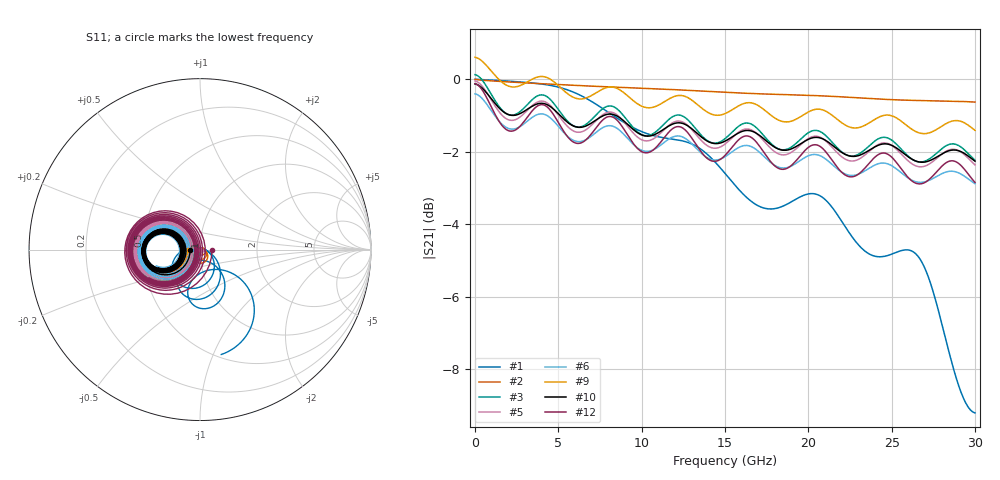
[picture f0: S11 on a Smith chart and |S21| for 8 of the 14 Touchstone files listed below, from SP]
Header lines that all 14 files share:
! Port 2 = P2 P2
# hz S ri R 50
! freq  reS11  imS11  reS21  imS21  reS12  imS12  reS22  imS22
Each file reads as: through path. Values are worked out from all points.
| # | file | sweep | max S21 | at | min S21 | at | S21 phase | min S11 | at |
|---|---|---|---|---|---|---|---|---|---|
| 1 | FR4_1MM.s2p | 8.274 Hz to 30 GHz | 0.00 dB | 26.17 kHz | -9.2 dB | 30 GHz | 22 deg at 14.06 GHz | -91.3 dB | 8.274 Hz |
| 2 | FR4_100UM.s2p | 8.235 Hz to 30 GHz | 0.00 dB | 20.69 kHz | -0.6 dB | 30 GHz | 89 deg at 12.8 GHz | -70.2 dB | 8.235 Hz |
| 3 | PEX_ONE_RF12_FF.s2p | 250 kHz to 30 GHz | 0.13 dB | 250 kHz | -2.3 dB | 26.7 GHz | 62 deg at 15 GHz | -54.7 dB | 250 kHz |
| 4 | PEX_ONE_RF12_SS.s2p | 250 kHz to 30 GHz | 0.22 dB | 250 kHz | -2.1 dB | 26.8 GHz | 62 deg at 15 GHz | -59.1 dB | 250 kHz |
| 5 | PEX_ONE_RF12_TT.s2p | 250 kHz to 30 GHz | -0.05 dB | 250 kHz | -2.4 dB | 26.7 GHz | 62 deg at 15 GHz | -45.4 dB | 250 kHz |
| 6 | PEX_RF12_FF.s2p | 250 kHz to 30 GHz | -0.40 dB | 250 kHz | -2.9 dB | 30 GHz | 64 deg at 15 GHz | -30.2 dB | 250 kHz |
| 7 | PEX_RF12_SS.s2p | 250 kHz to 30 GHz | 0.11 dB | 250 kHz | -2.6 dB | 30 GHz | 60 deg at 15 GHz | -39.5 dB | 8.1 GHz |
| 8 | PEX_RF12_TT.s2p | 250 kHz to 30 GHz | -0.05 dB | 250 kHz | -2.4 dB | 26.7 GHz | 62 deg at 15 GHz | -45.4 dB | 250 kHz |
| 9 | SwitchRF12_FF_calc.s2p | 250 kHz to 30 GHz | 0.61 dB | 250 kHz | -1.5 dB | 26.9 GHz | 61 deg at 15 GHz | -22.8 dB | 250 kHz |
| 10 | SwitchRF12_FF_calcR.s2p | 250 kHz to 30 GHz | -0.13 dB | 250 kHz | -2.3 dB | 26.8 GHz | 62 deg at 15 GHz | -24.8 dB | 250 kHz |
| 11 | SwitchRF12_SS_calc.s2p | 250 kHz to 30 GHz | -0.73 dB | 250 kHz | -3.4 dB | 26.6 GHz | 63 deg at 15 GHz | -45.1 dB | 16.3 GHz |
| 12 | SwitchRF12_SS_calcR.s2p | 250 kHz to 30 GHz | -0.12 dB | 250 kHz | -2.9 dB | 26.7 GHz | 62 deg at 15 GHz | -40.2 dB | 12.2 GHz |
| 13 | SwitchRF12_TT_calc.s2p | 250 kHz to 30 GHz | -0.05 dB | 250 kHz | -2.4 dB | 26.7 GHz | 62 deg at 15 GHz | -45.4 dB | 250 kHz |
| 14 | SwitchRF12_TT_calcR.s2p | 250 kHz to 30 GHz | -0.05 dB | 250 kHz | -2.4 dB | 26.7 GHz | 62 deg at 15 GHz | -45.4 dB | 250 kHz |
